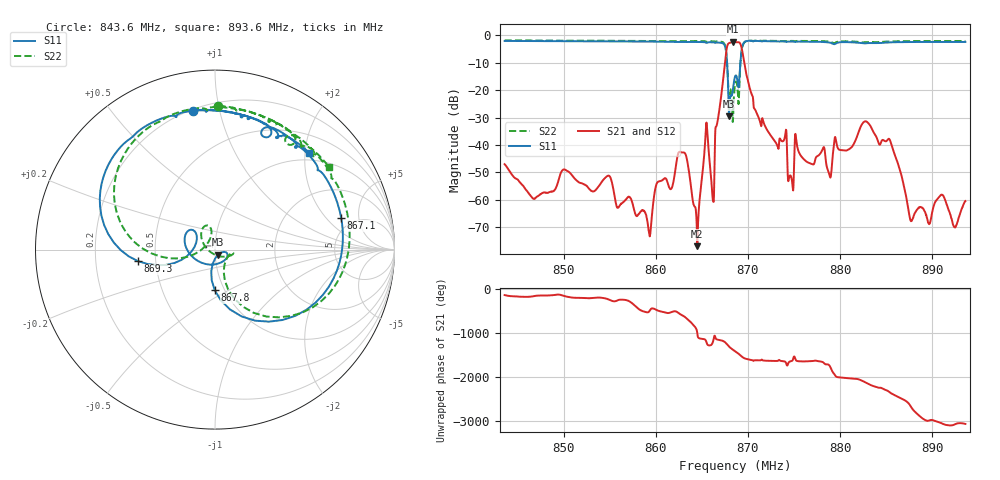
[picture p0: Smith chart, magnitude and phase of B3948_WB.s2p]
! Matrix data file written by TouchstoneData, EPCOS AG
! FILENAME: "B3948_MB.s2p"
! COMMENT: "(B3948_MB.s2p)"
! INFO: nport=2, nfreq=1601
! DATE: "Mon Aug 12 15:21:09 2013"
! USER: "Lynn Zhu"
! port | pin | signal
!  1  |  2  |  IN
!  2  |  4  |  OUT
# MHZ S RI R 50
! freq  reS11 imS11  reS21 imS21  reS12 imS12  reS22 imS22
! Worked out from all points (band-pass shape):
!   1601 points, 843.6 MHz to 893.6 MHz, reference 50 ohm
!   highest |S21| = -2.40 dB at 868.4 MHz (marker M1); lowest = -76.8 dB at 864.5 MHz (marker M2)
!   |S21| within 3 dB of the highest: 867.675 MHz to 869.366 MHz (1.691 MHz wide, 0.195 % of centre)
!   lowest |S11| = -29.5 dB at 867.9 MHz (marker M3), VSWR 1.07, Z = 51.8 - j2.88 ohm
!   |S11| at or under -10 dB: 867.7389 MHz to 869.1818 MHz (1.443 MHz wide, 0.166 % of centre)
!   |S22| runs from -31.6 to -1.9 dB; largest |S21 - S12| = 0.0016
!   S11 on the Smith chart (normalised r, x): 843.6 MHz: 0.21, +0.83; 867.1 MHz: 3.96, +2.96; 867.8 MHz: 0.90, -0.43; 869.3 MHz: 0.40, -0.06; 893.6 MHz: 0.84, +2.09
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843.6  -0.1206 0.774  -0.00309 -0.00324  -0.00308 -0.00324  0.019 0.7997
851.9438  0.0222 0.7735  -0.00192 0.000629  -0.00193 0.000622  0.1639 0.7762
859.2875  0.1801 0.7425  -0.000204 -0.000134  -0.000198 -0.000129  0.3151 0.7216
860.2875  0.2072 0.7319  -0.00142 -0.00163  -0.00143 -0.00164  0.3398 0.7073
863.0688  0.3011 0.6869  -0.00166 0.0071  -0.00167 0.00711  0.4233 0.6521
864.5063  0.3794 0.6476  3.6e-05 0.000139  3.3e-05 0.00014  0.4919 0.6049
865.475  0.4523 0.5667  -0.00821 -0.0227  -0.00824 -0.0228  0.549 0.5192
866.1625  0.5399 0.5075  -0.000879 -0.000687  -0.000881 -0.000685  0.6237 0.4587
867.1  0.7028 0.1774  0.00847 -0.077  0.00852 -0.0773  0.7464 0.1441
867.7875  -0.00135 -0.2265  -0.6489 0.1079  -0.6502 0.1083  0.0736 -0.2226
867.9438  0.0184 -0.0278  -0.5034 0.5077  -0.5043 0.5087  0.0719 -0.0388
868.4125  -0.0971 -0.0622  0.4193 0.6319  0.4203 0.633  -0.0395 -0.000934
868.6  -0.1692 0.0446  0.66 0.3582  0.6613 0.3588  -0.0761 0.0978
869.2563  -0.4287 -0.0646  0.1331 -0.6285  0.1334 -0.6295  -0.4085 0.00876
870.225  -0.326 0.7191  -0.1008 -0.0287  -0.101 -0.0287  -0.1553 0.778
873.975  0.1451 0.7521  -0.0121 0.00508  -0.0122 0.00507  0.3008 0.7266
874.6625  0.1707 0.7457  -0.00256 0.000925  -0.00257 0.000917  0.3242 0.7164
875.3188  0.1911 0.7381  -0.00974 0.00207  -0.00976 0.00206  0.3428 0.7058
876.9438  0.253 0.7164  -0.00432 0.00126  -0.00432 0.00127  0.3978 0.6752
885.2875  0.3708 0.6321  -0.0128 -0.00248  -0.0128 -0.00248  0.502 0.5756
887.725  0.4303 0.6141  -0.000398 -0.000103  -0.0004 -0.000106  0.5545 0.5481
893.6  0.5242 0.5387  -0.000953 8e-05  -0.000969 7.96e-05  0.6337 0.4612
